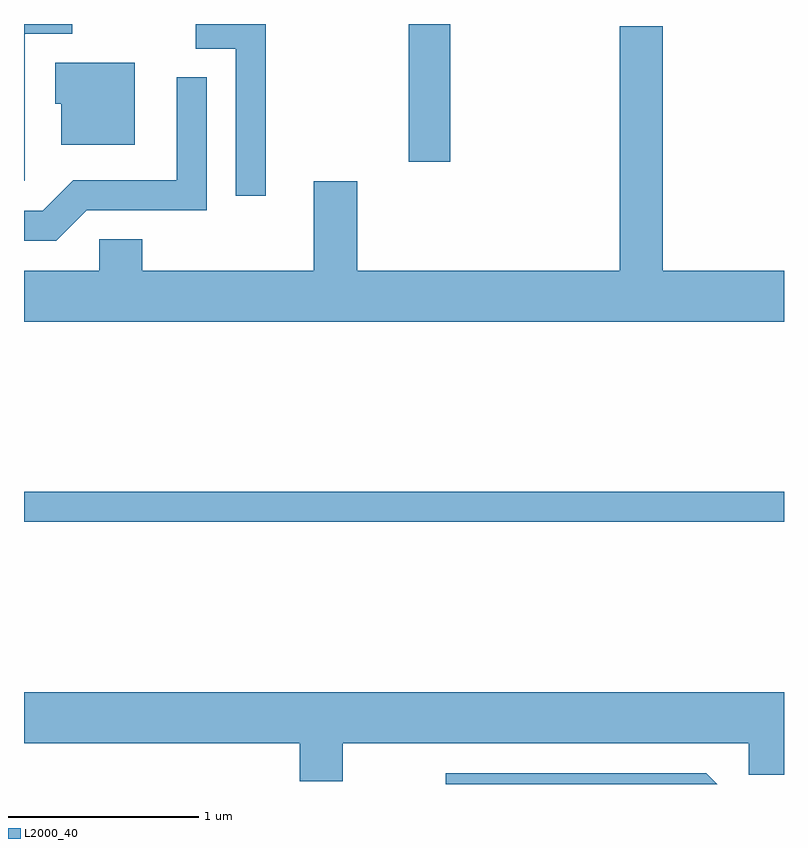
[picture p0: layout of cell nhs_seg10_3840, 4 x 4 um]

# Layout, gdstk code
import gdstk
lib = gdstk.Library(unit=1e-6, precision=1e-09)
def R(c, l, rs):  # rectangles x0, y0, x1, y1
    for r in rs: c.add(gdstk.rectangle(r[:2], r[2:], *l))
def P(c, l, *ps):  # polygons
    for p in ps: c.add(gdstk.Polygon(p, *l))
L2000_40 = (2000, 40)

nhs_seg10_3840 = lib.new_cell('nhs_seg10_3840')
R(nhs_seg10_3840, L2000_40, [(297.611,2183.901,301.611,2184.059), (299.636,2185.796,299.854,2186.522)])
P(nhs_seg10_3840, L2000_40, [(298.884,2186.522),(298.516,2186.522),(298.516,2186.391),(298.726,2186.391),(298.726,2185.618),(298.884,2185.618)],
  [(297.614,2186.471),(297.864,2186.471),(297.864,2186.522),(297.611,2186.522),(297.611,2185.696),(297.614,2185.696)],
  [(301.611,2185.224),(300.974,2185.224),(300.974,2186.509),(300.746,2186.509),(300.746,2185.224),(299.364,2185.224),(299.364,2185.694),(299.136,2185.694),(299.136,2185.224),(298.234,2185.224),(298.234,2185.389),(298.006,2185.389),(298.006,2185.224),(297.611,2185.224),(297.611,2184.956),(301.611,2184.956)],
  [(298.194,2186.319),(297.776,2186.319),(297.776,2186.101),(297.806,2186.101),(297.806,2185.886),(298.194,2185.886)],
  [(297.942,2185.541),(298.574,2185.541),(298.574,2186.243),(298.416,2186.243),(298.416,2185.699),(297.869,2185.699),(297.709,2185.539),(297.611,2185.539),(297.611,2185.381),(297.782,2185.381)],
  [(299.289,2182.736),(301.426,2182.736),(301.426,2182.571),(301.611,2182.571),(301.611,2183.004),(297.611,2183.004),(297.611,2182.736),(299.061,2182.736),(299.061,2182.536),(299.289,2182.536)],
  [(301.202,2182.579),(299.831,2182.579),(299.831,2182.522),(301.259,2182.522)])

lib.write_gds('nhs_seg10_3840.gds')
